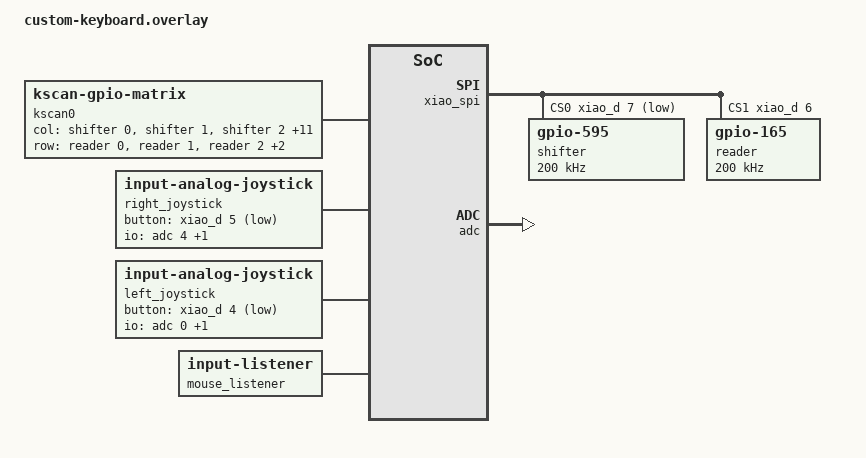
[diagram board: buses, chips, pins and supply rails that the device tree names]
/*
 * custom-keyboard shield overlay
 *
 * Pin mapping:
 *   D0  (P0.02/AIN0) = L_Joystick_Vert (ADC)
 *   D1  (P0.03/AIN1) = L_Joystick_Horz (ADC)
 *   D2  (P0.28/AIN4) = R_Joystick_Vert (ADC)
 *   D3  (P0.29/AIN5) = R_Joystick_Horz (ADC)
 *   D4  (P0.04)      = L_Joystick_Bttn (GPIO)
 *   D5  (P0.05)      = R_Joystick_Bttn (GPIO)
 *   D6  (P1.11)      = 74HC165 PL (SPI CS, GPIO_ACTIVE_HIGH)
 *   D7  (P1.12)      = 74HC595 RCLK (SPI CS, GPIO_ACTIVE_LOW)
 *   D8  (P1.13)      = SCK (shared SPI clock)
 *   D9  (P1.14)      = MISO (74HC165 Q7 serial data)
 *   D10 (P1.15)      = MOSI (74HC595 serial data)
 */

&pinctrl {
    spi2_default: spi2_default {
        group1 {
            psels = <NRF_PSEL(SPIM_SCK, 1, 13)>,
                    <NRF_PSEL(SPIM_MOSI, 1, 15)>,
                    <NRF_PSEL(SPIM_MISO, 1, 14)>;
        };
    };
    spi2_sleep: spi2_sleep {
        group1 {
            psels = <NRF_PSEL(SPIM_SCK, 1, 13)>,
                    <NRF_PSEL(SPIM_MOSI, 1, 15)>,
                    <NRF_PSEL(SPIM_MISO, 1, 14)>;
            low-power-enable;
        };
    };
};

&xiao_spi {
    status = "okay";
    cs-gpios = <&xiao_d 7 GPIO_ACTIVE_LOW>,
               <&xiao_d 6 GPIO_ACTIVE_HIGH>;

    shifter: 595@0 {
        compatible = "zmk,gpio-595";
        status = "okay";
        gpio-controller;
        spi-max-frequency = <200000>;
        reg = <0>;
        #gpio-cells = <2>;
        ngpios = <24>;
    };

    reader: 165@1 {
        compatible = "zmk,gpio-165";
        status = "okay";
        gpio-controller;
        spi-max-frequency = <200000>;
        reg = <1>;
        #gpio-cells = <2>;
        ngpios = <8>;
    };
};

&adc {
    status = "okay";
};

/ {
    chosen {
        zmk,kscan = &kscan0;
        zmk,matrix-transform = &default_transform;
    };

    default_transform: matrix_transform {
        compatible = "zmk,matrix-transform";
        columns = <14>;
        rows = <5>;
        map = <
            0x0200 0x0301 0x0003 0x0004 0x0005 0x0405 0x010d 0x010c 0x000b 0x000a 0x0009 0x0108
            0x0100 0x0201 0x0302 0x0403 0x0404 0x0305 0x000d 0x000c 0x040a 0x0409 0x0408 0x0008
            0x0000 0x0101 0x0202 0x0303 0x0304 0x0205 0x0206 0x020d 0x030c 0x030b 0x030a 0x0309 0x0308 0x0207
            0x0001 0x0102 0x0203 0x0204 0x0105 0x020c 0x020b 0x020a 0x0209 0x0208
            0x0002 0x0103 0x0104 0x0109 0x010a 0x010b
        >;
    };

    kscan0: kscan_0 {
        compatible = "zmk,kscan-gpio-matrix";
        wakeup-source;
        diode-direction = "col2row";

        col-gpios =
            <&shifter 0  GPIO_ACTIVE_HIGH>
            , <&shifter 1  GPIO_ACTIVE_HIGH>
            , <&shifter 2  GPIO_ACTIVE_HIGH>
            , <&shifter 3  GPIO_ACTIVE_HIGH>
            , <&shifter 4  GPIO_ACTIVE_HIGH>
            , <&shifter 5  GPIO_ACTIVE_HIGH>
            , <&shifter 6  GPIO_ACTIVE_HIGH>
            , <&shifter 7  GPIO_ACTIVE_HIGH>
            , <&shifter 8  GPIO_ACTIVE_HIGH>
            , <&shifter 9  GPIO_ACTIVE_HIGH>
            , <&shifter 10 GPIO_ACTIVE_HIGH>
            , <&shifter 11 GPIO_ACTIVE_HIGH>
            , <&shifter 12 GPIO_ACTIVE_HIGH>
            , <&shifter 13 GPIO_ACTIVE_HIGH>
            ;

        row-gpios =
            <&reader 0 (GPIO_ACTIVE_HIGH | GPIO_PULL_DOWN)>
            , <&reader 1 (GPIO_ACTIVE_HIGH | GPIO_PULL_DOWN)>
            , <&reader 2 (GPIO_ACTIVE_HIGH | GPIO_PULL_DOWN)>
            , <&reader 3 (GPIO_ACTIVE_HIGH | GPIO_PULL_DOWN)>
            , <&reader 4 (GPIO_ACTIVE_HIGH | GPIO_PULL_DOWN)>
            ;
    };

    right_joystick: right_joystick {
        compatible = "zmk,input-analog-joystick";
        io-channels = <&adc 4>, <&adc 5>;
        button-gpios = <&xiao_d 5 (GPIO_ACTIVE_LOW | GPIO_PULL_UP)>;
        deadzone = <100>;
        poll-interval-ms = <10>;
        sensitivity = <15>;
    };

    left_joystick: left_joystick {
        compatible = "zmk,input-analog-joystick";
        io-channels = <&adc 0>, <&adc 1>;
        button-gpios = <&xiao_d 4 (GPIO_ACTIVE_LOW | GPIO_PULL_UP)>;
        deadzone = <100>;
        poll-interval-ms = <10>;
        sensitivity = <10>;
        scroll-mode;
    };

    mouse_listener: mouse_listener {
        compatible = "zmk,input-listener";
        device = <&right_joystick>;
    };

    scroll_listener: scroll_listener {
        compatible = "zmk,input-listener";
        device = <&left_joystick>;
    };
};
